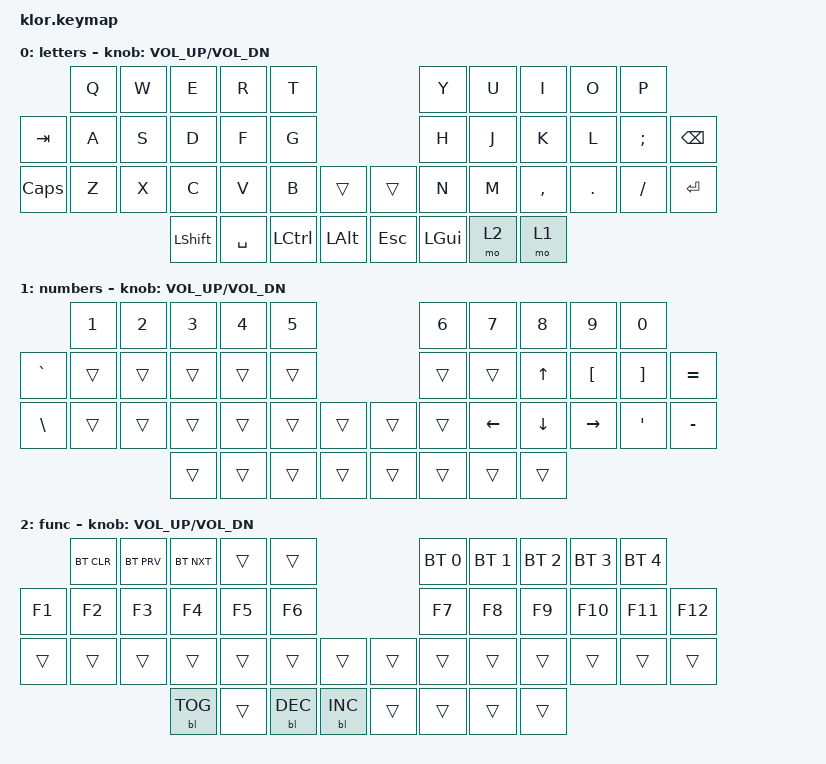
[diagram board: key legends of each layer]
//                               █         █    █            ▄▄▄▀▀▀▀▀▀▄▄▄        █▀▀▀▀▀▀▀▀▀▀█
//                               █        █     █          ▄▀            ▀▄      █          █
//                               █       █      █        ▄▀                ▀▄    █          █
//                               █      █       █        █                  █    █          █
//                               █     █        █       █                    █   █          █
//                               █    █         █       █                    █   █▄▄▄▄▄▄▄▄▄▄█
//                               █   █ █        █       █                    █   █      █
//                               █  █   █       █        █                  █    █       █
//                               █ █     █      █        ▀▄                ▄▀    █        █
//                               ██       █     █          ▀▄            ▄▀      █         █
//                               █         █    █▄▄▄▄▄▄▄▄    ▀▀▀▄▄▄▄▄▄▀▀▀        █          █
//
// ▄▄▄▄▄▄▄▄▄▄▄▄▄▄▄▄▄▄▄▄▄▄▄▄▄▄▄▄▄▄▄▄▄▄▄▄▄▄▄▄▄▄▄▄▄▄▄▄▄▄▄▄▄▄▄▄▄▄▄▄▄▄▄▄▄▄▄▄▄▄▄▄▄▄▄▄▄▄▄▄▄▄▄▄▄▄▄▄▄▄▄▄▄▄▄▄▄▄▄▄▄▄▄▄▄▄▄▄▄▄▄▄▄▄▄▄▄▄▄▄▄▄▄▄▄

#include <behaviors.dtsi>
#include <dt-bindings/zmk/backlight.h>
#include <dt-bindings/zmk/bt.h>
#include <dt-bindings/zmk/keys.h>

#define BASE   0
#define LOWER  1
#define RAISE  2
#define ADJUST 3

/ {
    behaviors {
        hm: homerow_mods {
            compatible = "zmk,behavior-hold-tap";
            label = "HOMEROW_MODS";
            #binding-cells = <2>;
            tapping-term-ms = <150>;
            quick_tap_ms = <0>;
            flavor = "tap-preferred";
            bindings = <&kp>, <&kp>;
        };
    };

    combos {
        compatible = "zmk,combos";

        combo_esc {
            timeout-ms = <50>;
            key-positions = <0 1>;
            bindings = <&kp ESC>;
        };
    };

    keymap {
        compatible = "zmk,keymap";

        // ▄▄▄▄▄▄▄▄▄▄▄▄▄▄▄▄▄▄▄▄▄▄▄▄▄▄▄▄▄▄▄▄▄▄▄▄▄▄▄▄▄▄▄▄▄▄▄▄▄▄▄▄▄▄▄▄▄▄▄▄▄▄▄▄▄▄▄▄▄▄▄▄▄▄▄▄▄▄▄▄▄▄▄▄▄▄▄▄▄▄▄▄▄▄▄▄▄▄▄▄▄▄▄▄▄▄▄▄▄▄▄▄▄▄▄▄▄▄▄▄▄▄▄▄▄▄▄▄▄▄▄▄▄▄▄▄▄▄▄▄▄▄

        base_layer {
            // ┌───────────────────────────────────────────────────────────┐

            label = "letters";

            // └───────────────────────────────────────────────────────────┘
            /*           ┌─────────┬─────────┬─────────┬─────────┬─────────┐                    ┌─────────┬─────────┬─────────┬─────────┬─────────┐
             │    Q    │    W    │    F    │    P    │    G    │                    │    J    │    L    │    U    │    Y    │    ;    │   
   ┌─────────┼─────────┼─────────┼─────────┼─────────┼─────────┤                    ├─────────┼─────────┼─────────┼─────────┼─────────┼─────────┐
   │   TAB   │    A    │    R    │    S    │    T    │    D    │                    │    H    │    N    │    E    │    I    │    O    │    "    │
   ├─────────┼─────────┼─────────┼─────────┼─────────┼─────────┤╭────────╮╭────────╮├─────────┼─────────┼─────────┼─────────┼─────────┼─────────┤
   │   DEL   │    Z    │    X    │    C    │    V    │    B    ││  MUTE  ││PLY/PSE ││    K    │    M    │    ,    │    .    │    /    │    \    │
   └─────────┴─────────┴─────────┼─────────┼─────────┼─────────┼╰────────╯╰────────╯┼─────────┼─────────┼─────────┼─────────┴─────────┴─────────┘
                                 │  CTRL   │  LOWER  │  SPACE  │   ALT   ││ CMD/WIN │  ENTER  │  RAISE  │  BSPCE  │  
                                 └─────────┴─────────┴─────────┴─────────┘└─────────┴─────────┴─────────┴─────────┘ */

            bindings = <
              &kp Q  &kp W  &kp E       &kp R      &kp T                            &kp Y         &kp U  &kp I      &kp O    &kp P
&kp TAB       &kp A  &kp S  &kp D       &kp F      &kp G                            &kp H         &kp J  &kp K      &kp L    &kp SEMI  &kp BSPC
&kp CAPSLOCK  &kp Z  &kp X  &kp C       &kp V      &kp B      &trans    &trans      &kp N         &kp M  &kp COMMA  &kp DOT  &kp FSLH  &kp RET
                            &kp LSHIFT  &kp SPACE  &kp LCTRL  &kp LALT  &kp ESCAPE  &kp LEFT_GUI  &mo 2  &mo 1
            >;

            sensor-bindings = <&inc_dec_kp C_VOL_UP C_VOL_DN>;
        };

        // ▄▄▄▄▄▄▄▄▄▄▄▄▄▄▄▄▄▄▄▄▄▄▄▄▄▄▄▄▄▄▄▄▄▄▄▄▄▄▄▄▄▄▄▄▄▄▄▄▄▄▄▄▄▄▄▄▄▄▄▄▄▄▄▄▄▄▄▄▄▄▄▄▄▄▄▄▄▄▄▄▄▄▄▄▄▄▄▄▄▄▄▄▄▄▄▄▄▄▄▄▄▄▄▄▄▄▄▄▄▄▄▄▄▄▄▄▄▄▄▄▄▄▄▄▄▄▄▄▄▄▄▄▄▄▄▄▄▄▄▄▄▄

        num_layer {
            // ┌───────────────────────────────────────────────────────────┐

            label = "numbers";

            // └───────────────────────────────────────────────────────────┘
            /*           ┌─────────┬─────────┬─────────┬─────────┬─────────┐                    ┌─────────┬─────────┬─────────┬─────────┬─────────┐
             │         │         │    UP   │         │    {    │                    │    }    │    7    │    8    │    9    │    +    │
   ┌─────────┼─────────┼─────────┼─────────┼─────────┼─────────┤                    ├─────────┼─────────┼─────────┼─────────┼─────────┼─────────┐
   │         │         │   LEFT  │  DOWN   │  RIGHT  │    [    │                    │    ]    │    4    │    5    │    6    │    -    │         │
   ├─────────┼─────────┼─────────┼─────────┼─────────┼─────────┤╭────────╮╭────────╮├─────────┼─────────┼─────────┼─────────┼─────────┼─────────┤
   │         │         │   P UP  │ C LOCK  │ P DOWN  │    (    ││        ││        ││    )    │    1    │    2    │    3    │    *    │         │
   └─────────┴─────────┴─────────┼─────────┼─────────┼─────────┼╰────────╯╰────────╯┼─────────┼─────────┼─────────┼─────────┴─────────┴─────────┘
                                 │         │         │         │         ││         │         │    0    │         │  
                                 └─────────┴─────────┴─────────┴─────────┘└─────────┴─────────┴─────────┴─────────┘ */

            bindings = <
               &kp NUMBER_1  &kp NUMBER_2  &kp NUMBER_3  &kp NUMBER_4  &kp N5                  &kp NUMBER_6  &kp N7          &kp N8        &kp N9            &kp N0
&kp GRAVE      &trans        &trans        &trans        &trans        &trans                  &trans        &trans          &kp UP_ARROW  &kp LEFT_BRACKET  &kp RIGHT_BRACKET  &kp EQUAL
&kp BACKSLASH  &trans        &trans        &trans        &trans        &trans  &trans  &trans  &trans        &kp LEFT_ARROW  &kp DOWN      &kp RIGHT_ARROW   &kp SINGLE_QUOTE   &kp MINUS
                                           &trans        &trans        &trans  &trans  &trans  &trans        &trans          &trans
            >;

            sensor-bindings = <&inc_dec_kp C_VOL_UP C_VOL_DN>;
        };

        // ▄▄▄▄▄▄▄▄▄▄▄▄▄▄▄▄▄▄▄▄▄▄▄▄▄▄▄▄▄▄▄▄▄▄▄▄▄▄▄▄▄▄▄▄▄▄▄▄▄▄▄▄▄▄▄▄▄▄▄▄▄▄▄▄▄▄▄▄▄▄▄▄▄▄▄▄▄▄▄▄▄▄▄▄▄▄▄▄▄▄▄▄▄▄▄▄▄▄▄▄▄▄▄▄▄▄▄▄▄▄▄▄▄▄▄▄▄▄▄▄▄▄▄▄▄

        func_layer {
            // ┌───────────────────────────────────────────────────────────┐

            label = "func";

            // └───────────────────────────────────────────────────────────┘
            /*           ┌─────────┬─────────┬─────────┬─────────┬─────────┐                    ┌─────────┬─────────┬─────────┬─────────┬─────────┐
             │         │         │         │         │         │                    │         │         │    Ü    │         │         │
   ┌─────────┼─────────┼─────────┼─────────┼─────────┼─────────┤                    ├─────────┼─────────┼─────────┼─────────┼─────────┼─────────┐
   │    Ä    │         │    ß    │         │         │         │                    │         │         │         │         │    Ö    │         │
   ├─────────┼─────────┼─────────┼─────────┼─────────┼─────────┤╭────────╮╭────────╮├─────────┼─────────┼─────────┼─────────┼─────────┼─────────┤
   │         │         │         │         │         │         ││        ││        ││         │         │         │         │         │         │
   └─────────┴─────────┴─────────┼─────────┼─────────┼─────────┼╰────────╯╰────────╯┼─────────┼─────────┼─────────┼─────────┴─────────┴─────────┘
                                 │ ADJUST  │         │         │         ││         │         │         │         │  
                                 └─────────┴─────────┴─────────┴─────────┘└─────────┴─────────┴─────────┴─────────┘ */

            bindings = <
        &bt BT_CLR  &bt BT_PRV  &bt BT_NXT  &trans  &trans                          &bt BT_SEL 0  &bt BT_SEL 1  &bt BT_SEL 2  &bt BT_SEL 3  &bt BT_SEL 4
&kp F1  &kp F2      &kp F3      &kp F4      &kp F5  &kp F6                          &kp F7        &kp F8        &kp F9        &kp F10       &kp F11       &kp F12
&trans  &trans      &trans      &trans      &trans  &trans      &trans      &trans  &trans        &trans        &trans        &trans        &trans        &trans
                                &bl BL_TOG  &trans  &bl BL_DEC  &bl BL_INC  &trans  &trans        &trans        &trans
            >;

            sensor-bindings = <&inc_dec_kp C_VOL_UP C_VOL_DN>;
        };

        // ▄▄▄▄▄▄▄▄▄▄▄▄▄▄▄▄▄▄▄▄▄▄▄▄▄▄▄▄▄▄▄▄▄▄▄▄▄▄▄▄▄▄▄▄▄▄▄▄▄▄▄▄▄▄▄▄▄▄▄▄▄▄▄▄▄▄▄▄▄▄▄▄▄▄▄▄▄▄▄▄▄▄▄▄▄▄▄▄▄▄▄▄▄▄▄▄▄▄▄▄▄▄▄▄▄▄▄▄▄▄▄▄▄▄▄▄▄▄▄▄▄▄▄▄▄
    };
};
